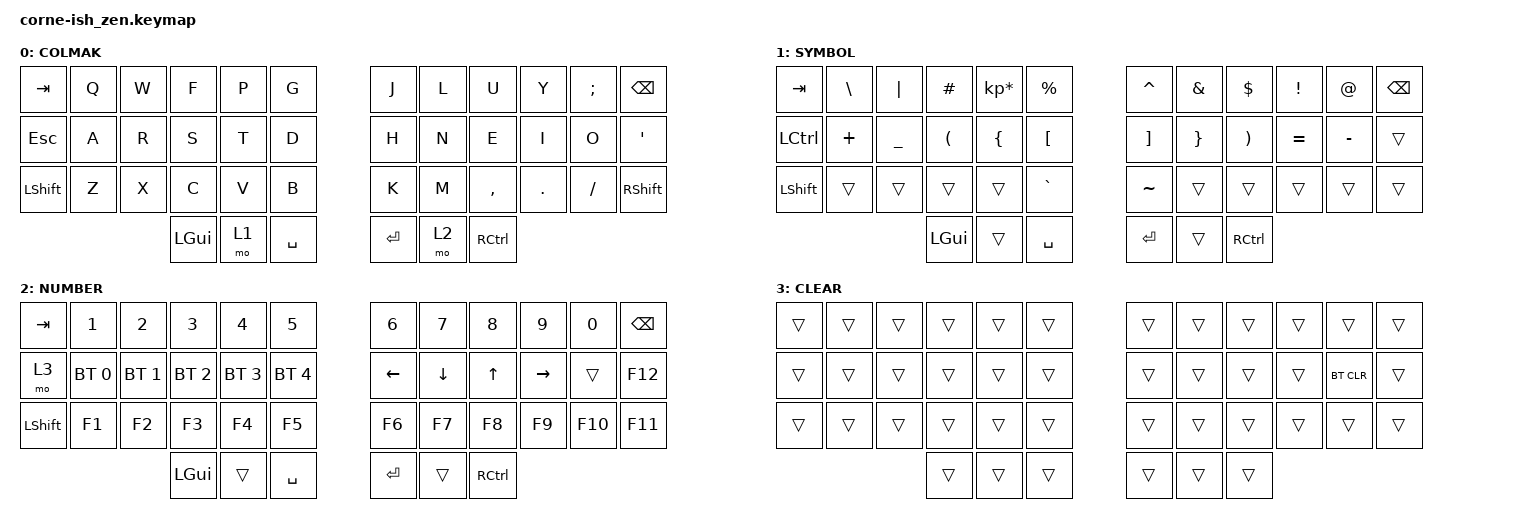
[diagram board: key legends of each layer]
/*
*
* Copyright (c) 2021 Darryl deHaan
* SPDX-License-Identifier: MIT
*
*/

#include <behaviors.dtsi>
#include <dt-bindings/zmk/keys.h>
#include <dt-bindings/zmk/bt.h>

/ {
        keymap {
                compatible = "zmk,keymap";
                default_layer {
                        label = "COLMAK";
// -----------------------------------------------------------------------------------------
// | TAB  |  Q  |  W  |  F  |  P  |  G  |   |  J  |  L   |  U  |  Y  |  ;  | BKSP |
// | ESC  |  A  |  R  |  S  |  T  |  D  |   |  H  |  N   |  E  |  I  |  O  |  '   |
// | SHFT |  Z  |  X  |  C  |  V  |  B  |   |  K  |  M   |  ,  |  .  |  /  | SHFT |
//                    | GUI | LWR | SPC |   | ENT | RSE  | CTRL|
                        bindings = <
   &kp TAB    &kp Q  &kp W  &kp F      &kp P  &kp G      &kp J    &kp L  &kp U      &kp Y    &kp SEMI  &kp BSPC
   &kp ESC    &kp A  &kp R  &kp S      &kp T  &kp D      &kp H    &kp N  &kp E      &kp I    &kp O     &kp SQT
   &kp LSHFT  &kp Z  &kp X  &kp C      &kp V  &kp B      &kp K    &kp M  &kp COMMA  &kp DOT  &kp FSLH  &kp RSHFT
                            &kp LGUI   &mo 1  &kp SPACE  &kp RET  &mo 2  &kp RCTRL
                        >;
                };

                lower_layer {
                        label = "SYMBOL";
// -----------------------------------------------------------------------------------------
// | TAB  |  \  | "|" |  #  |  *  |  %  |   |  ^  |  &  |  $  |  !  |  @  | BKSP |
// | CTRL |  +  |  _  |  (  |  {  |  [  |   |  ]  |  }  |  )  |  =  |  -  |      |
// | SHFT |     |     |     |     |  `  |   |  ~  |     |     |     |     |      |
//                    | GUI |     | SPC |   | ENT |     | CTRL|
                        bindings = <
   &kp TAB    &kp BSLH  &kp PIPE   &kp HASH   &kp KP_MULTIPLY  &kp PRCNT    &kp CARET  &kp AMPS  &kp DLLR  &kp EXCL   &kp AT     &kp BSPC
   &kp LCTRL  &kp PLUS  &kp UNDER  &kp LPAR   &kp LBRC         &kp LBKT     &kp RBKT   &kp RBRC  &kp RPAR  &kp EQUAL  &kp MINUS  &trans
   &kp LSHFT  &trans    &trans     &trans     &trans           &kp GRAVE    &kp TILDE  &trans    &trans    &trans     &trans     &trans
                                   &kp LGUI   &trans           &kp SPACE    &kp RET    &trans    &kp RCTRL
                        >;
                };

                raise_layer {
                        label = "NUMBER";
// -----------------------------------------------------------------------------------------
// |  TAB |  1  |  2  |  3  |  4  |  5  |   |  6  |  7  |  8  |  9  |  0  | BKSP |
// | RSE  | BT1 | BT2 | BT3 | BT4 | BT5 |   | LFT | DWN |  UP | RGT |     | F12  |
// | SHFT |  F1 | F2  | F3  | F4  | F5  |   |  F6 |  F7 |  F8 |  F9 | F10 | F11  |
//                    | GUI |     | SPC |   | ENT |     | CTRL|
                        bindings = <
   &kp TAB   &kp N1        &kp N2        &kp N3        &kp N4        &kp N5        &kp N6    &kp N7    &kp N8    &kp N9     &kp N0   &kp BSPC
   &mo 3     &bt BT_SEL 0  &bt BT_SEL 1  &bt BT_SEL 2  &bt BT_SEL 3  &bt BT_SEL 4  &kp LEFT  &kp DOWN  &kp UP    &kp RIGHT  &trans   &kp F12
   &kp LSHFT &kp F1        &kp F2        &kp F3        &kp F4        &kp F5        &kp F6    &kp F7    &kp F8    &kp F9     &kp F10  &kp F11
                          	           &kp LGUI      &trans        &kp SPACE     &kp RET   &trans    &kp RCTRL
                        >;
                };

                clear_layer {
                        label = "CLEAR";
// -----------------------------------------------------------------------------------------
// |   |   |   |   |   |   |   |   |   |   |   |       |   |
// |   |   |   |   |   |   |   |   |   |   |   | BTCLR |   |
// |   |   |   |   |   |   |   |   |   |   |   |       |   |
//             |   |   |   |   |   |   |   |
                        bindings = <
   &trans &trans &trans &trans &trans &trans &trans &trans &trans &trans &trans     &trans
   &trans &trans &trans &trans &trans &trans &trans &trans &trans &trans &bt BT_CLR &trans
   &trans &trans &trans &trans &trans &trans &trans &trans &trans &trans &trans     &trans
                    &trans &trans &trans     &trans &trans &trans
                        >;
                };
        };
};
